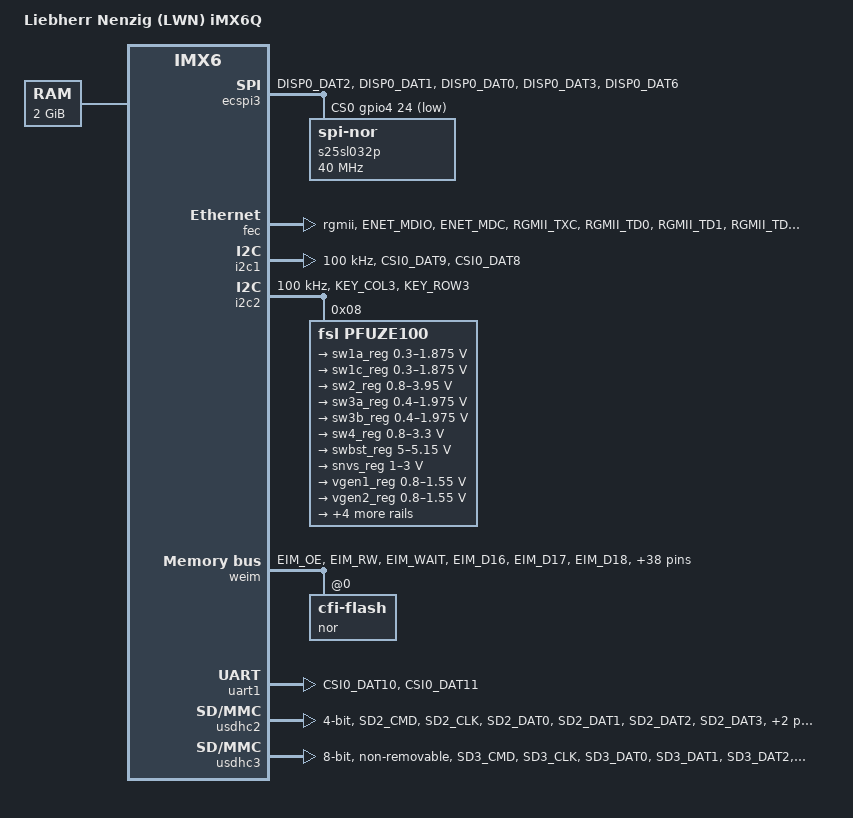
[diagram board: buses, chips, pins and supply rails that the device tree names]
// SPDX-License-Identifier: GPL-2.0+
/*
 * Copyright 2019
 * Lukasz Majewski, DENX Software Engineering, lukma@denx.de
 *
 * SPDX-License-Identifier:     GPL-2.0+ or X11
 */

/dts-v1/;
#include <dt-bindings/gpio/gpio.h>
#include "imx6q.dtsi"

/ {
	model = "Liebherr Nenzig (LWN) iMX6Q";
	compatible = "lwn,imx6-mccmon6", "fsl,imx6";

	aliases {
		mmc0 = &usdhc3;
		mmc1 = &usdhc2;
		spi0 = &ecspi3;
	};

	chosen {
		stdout-path = &uart1;
	};

	memory@10000000 {
		reg = <0x10000000 0x80000000>;
	};
};

&ecspi3 {
	cs-gpios = <&gpio4 24 GPIO_ACTIVE_LOW>;
	pinctrl-names = "default";
	pinctrl-0 = <&pinctrl_ecspi3 &pinctrl_ecspi3_cs &pinctrl_ecspi3_flwp>;
	spi-max-frequency = <25000000>;
	status = "okay";

	s25sl032p: flash@0 {
		#address-cells = <1>;
		#size-cells = <1>;
		compatible = "jedec,spi-nor";
		spi-max-frequency = <40000000>;
		reg = <0>;
	};
};

&fec {
	pinctrl-names = "default";
	pinctrl-0 = <&pinctrl_enet>;
	phy-mode = "rgmii";
	phy-reset-gpios = <&gpio1 27 GPIO_ACTIVE_LOW>;
	phy-reset-duration = <10>;
	phy-reset-post-delay = <1>;
	/* KSZ9031 PHY SKEW setup - old values * 60 ps */
	rxc-skew-ps = <1860>;
	txc-skew-ps = <1860>;
	txen-skew-ps = <900>;
	rxdv-skew-ps = <900>;
	rxd0-skew-ps = <180>;
	rxd1-skew-ps = <180>;
	rxd2-skew-ps = <180>;
	rxd3-skew-ps = <180>;
	txd0-skew-ps = <120>;
	txd1-skew-ps = <300>;
	txd2-skew-ps = <0>;
	txd3-skew-ps = <120>;
	status = "okay";
};

&i2c1 {
	clock-frequency = <100000>;
	pinctrl-names = "default";
	pinctrl-0 = <&pinctrl_i2c1>;
	status = "okay";
};

&i2c2 {
	clock-frequency = <100000>;
	pinctrl-names = "default";
	pinctrl-0 = <&pinctrl_i2c2>;
	status = "okay";

	pfuze100: pmic@8 {
		compatible = "fsl,pfuze100";
		reg = <0x08>;

		regulators {
			sw1a_reg: sw1ab {
				regulator-min-microvolt = <300000>;
				regulator-max-microvolt = <1875000>;
				regulator-boot-on;
				regulator-always-on;
				regulator-ramp-delay = <6250>;
			};

			sw1c_reg: sw1c {
				regulator-min-microvolt = <300000>;
				regulator-max-microvolt = <1875000>;
				regulator-boot-on;
				regulator-always-on;
				regulator-ramp-delay = <6250>;
			};

			sw2_reg: sw2 {
				regulator-min-microvolt = <800000>;
				regulator-max-microvolt = <3950000>;
				regulator-boot-on;
				regulator-always-on;
			};

			sw3a_reg: sw3a {
				regulator-min-microvolt = <400000>;
				regulator-max-microvolt = <1975000>;
				regulator-boot-on;
				regulator-always-on;
			};

			sw3b_reg: sw3b {
				regulator-min-microvolt = <400000>;
				regulator-max-microvolt = <1975000>;
				regulator-boot-on;
				regulator-always-on;
			};

			sw4_reg: sw4 {
				regulator-min-microvolt = <800000>;
				regulator-max-microvolt = <3300000>;
			};

			swbst_reg: swbst {
				regulator-min-microvolt = <5000000>;
				regulator-max-microvolt = <5150000>;
			};

			snvs_reg: vsnvs {
				regulator-min-microvolt = <1000000>;
				regulator-max-microvolt = <3000000>;
				regulator-boot-on;
				regulator-always-on;
			};

			vref_reg: vrefddr {
				regulator-boot-on;
				regulator-always-on;
			};

			vgen1_reg: vgen1 {
				regulator-min-microvolt = <800000>;
				regulator-max-microvolt = <1550000>;
			};

			vgen2_reg: vgen2 {
				regulator-min-microvolt = <800000>;
				regulator-max-microvolt = <1550000>;
			};

			vgen3_reg: vgen3 {
				regulator-min-microvolt = <1800000>;
				regulator-max-microvolt = <3300000>;
			};

			vgen4_reg: vgen4 {
				regulator-min-microvolt = <1800000>;
				regulator-max-microvolt = <3300000>;
				regulator-always-on;
			};

			vgen5_reg: vgen5 {
				regulator-min-microvolt = <1800000>;
				regulator-max-microvolt = <3300000>;
				regulator-always-on;
			};

			vgen6_reg: vgen6 {
				regulator-min-microvolt = <1800000>;
				regulator-max-microvolt = <3300000>;
				regulator-always-on;
			};
		};
	};
};

&weim {
	pinctrl-names = "default";
	pinctrl-0 = <&pinctrl_weim_nor &pinctrl_weim_cs0>;
	ranges = <0 0 0x08000000 0x08000000>;
	status = "okay";

	nor@0,0 {
		compatible = "cfi-flash";
		reg = <0 0 0x02000000>;
		#address-cells = <1>;
		#size-cells = <1>;
		bank-width = <2>;
		use-advanced-sector-protection;
		fsl,weim-cs-timing = <0x00620081 0x00000001 0x1c022000
				0x0000c000 0x1404a38e 0x00000000>;
	};
};

&iomuxc {
	pinctrl-names = "default";
	pinctrl-0 = <&pinctrl_hog>;

	pinctrl_ecspi3: ecspi3grp {
		fsl,pins = <
			MX6QDL_PAD_DISP0_DAT2__ECSPI3_MISO	0x100b1
			MX6QDL_PAD_DISP0_DAT1__ECSPI3_MOSI	0x100b1
			MX6QDL_PAD_DISP0_DAT0__ECSPI3_SCLK	0x100b1
		>;
	};

	pinctrl_ecspi3_cs: ecspi3csgrp {
		fsl,pins = <
			MX6QDL_PAD_DISP0_DAT3__GPIO4_IO24 0x80000000
		>;
	};

	pinctrl_ecspi3_flwp: ecspi3flwpgrp {
		fsl,pins = <
			MX6QDL_PAD_DISP0_DAT6__GPIO4_IO27 0x80000000
		>;
	};

	pinctrl_enet: enetgrp {
		fsl,pins = <
			MX6QDL_PAD_ENET_MDIO__ENET_MDIO		0x1b0b0
			MX6QDL_PAD_ENET_MDC__ENET_MDC		0x1b0b0
			MX6QDL_PAD_RGMII_TXC__RGMII_TXC		0x1b0b0
			MX6QDL_PAD_RGMII_TD0__RGMII_TD0		0x1b0b0
			MX6QDL_PAD_RGMII_TD1__RGMII_TD1		0x1b0b0
			MX6QDL_PAD_RGMII_TD2__RGMII_TD2		0x1b0b0
			MX6QDL_PAD_RGMII_TD3__RGMII_TD3		0x1b0b0
			MX6QDL_PAD_RGMII_TX_CTL__RGMII_TX_CTL	0x1b0b0
			MX6QDL_PAD_ENET_REF_CLK__ENET_TX_CLK	0x1b0b0
			MX6QDL_PAD_RGMII_RXC__RGMII_RXC		0x1b0b0
			MX6QDL_PAD_RGMII_RD0__RGMII_RD0		0x1b0b0
			MX6QDL_PAD_RGMII_RD1__RGMII_RD1		0x1b0b0
			MX6QDL_PAD_RGMII_RD2__RGMII_RD2		0x1b0b0
			MX6QDL_PAD_RGMII_RD3__RGMII_RD3		0x1b0b0
			MX6QDL_PAD_RGMII_RX_CTL__RGMII_RX_CTL	0x1b0b0
			MX6QDL_PAD_GPIO_16__ENET_REF_CLK 0x4001b0a8
			MX6QDL_PAD_GPIO_6__ENET_IRQ		0x000b1
			MX6QDL_PAD_ENET_RXD0__GPIO1_IO27        0x1b0b0
		>;
	};

	pinctrl_hog: hoggrp {
		fsl,pins = <
			MX6QDL_PAD_GPIO_2__GPIO1_IO02 0x1b0b0
			MX6QDL_PAD_GPIO_1__GPIO1_IO01 0x1b0b0
		>;
	};

	pinctrl_i2c1: i2c1grp {
		fsl,pins = <
			MX6QDL_PAD_CSI0_DAT9__I2C1_SCL	0x4001b8b1
			MX6QDL_PAD_CSI0_DAT8__I2C1_SDA	0x4001b8b1
		>;
	};

	pinctrl_i2c2: i2c2grp {
		fsl,pins = <
			MX6QDL_PAD_KEY_COL3__I2C2_SCL	0x4001b8b1
			MX6QDL_PAD_KEY_ROW3__I2C2_SDA	0x4001b8b1
		>;
	};

	pinctrl_uart1: uart1grp {
		fsl,pins = <
			MX6QDL_PAD_CSI0_DAT10__UART1_TX_DATA	0x1b0b1
			MX6QDL_PAD_CSI0_DAT11__UART1_RX_DATA	0x1b0b1
		>;
	};

	pinctrl_usdhc2: usdhc2grp {
		fsl,pins = <
			MX6QDL_PAD_SD2_CMD__SD2_CMD		0x17059
			MX6QDL_PAD_SD2_CLK__SD2_CLK		0x10059
			MX6QDL_PAD_SD2_DAT0__SD2_DATA0		0x17059
			MX6QDL_PAD_SD2_DAT1__SD2_DATA1		0x17059
			MX6QDL_PAD_SD2_DAT2__SD2_DATA2		0x17059
			MX6QDL_PAD_SD2_DAT3__SD2_DATA3		0x17059
			MX6QDL_PAD_GPIO_4__GPIO1_IO04           0x1b0b1
		>;
	};

	pinctrl_usdhc3: usdhc3grp {
		fsl,pins = <
			MX6QDL_PAD_SD3_CMD__SD3_CMD		0x17059
			MX6QDL_PAD_SD3_CLK__SD3_CLK		0x10059
			MX6QDL_PAD_SD3_DAT0__SD3_DATA0		0x17059
			MX6QDL_PAD_SD3_DAT1__SD3_DATA1		0x17059
			MX6QDL_PAD_SD3_DAT2__SD3_DATA2		0x17059
			MX6QDL_PAD_SD3_DAT3__SD3_DATA3		0x17059
			MX6QDL_PAD_SD3_DAT4__SD3_DATA4		0x17059
			MX6QDL_PAD_SD3_DAT5__SD3_DATA5		0x17059
			MX6QDL_PAD_SD3_DAT6__SD3_DATA6		0x17059
			MX6QDL_PAD_SD3_DAT7__SD3_DATA7		0x17059
			MX6QDL_PAD_SD3_RST__SD3_RESET		0x17059
		>;
	};

	pinctrl_weim_cs0: weimcs0grp {
		fsl,pins = <
			MX6QDL_PAD_EIM_CS0__EIM_CS0_B		0xb0b1
		>;
	};

	pinctrl_weim_nor: weimnorgrp {
		fsl,pins = <
			MX6QDL_PAD_EIM_OE__EIM_OE_B		0xb0b1
			MX6QDL_PAD_EIM_RW__EIM_RW		0xb0b1
			MX6QDL_PAD_EIM_WAIT__EIM_WAIT_B	0xb060
			MX6QDL_PAD_EIM_D16__EIM_DATA16		0x1b0b0
			MX6QDL_PAD_EIM_D17__EIM_DATA17		0x1b0b0
			MX6QDL_PAD_EIM_D18__EIM_DATA18		0x1b0b0
			MX6QDL_PAD_EIM_D19__EIM_DATA19		0x1b0b0
			MX6QDL_PAD_EIM_D20__EIM_DATA20		0x1b0b0
			MX6QDL_PAD_EIM_D21__EIM_DATA21		0x1b0b0
			MX6QDL_PAD_EIM_D22__EIM_DATA22		0x1b0b0
			MX6QDL_PAD_EIM_D23__EIM_DATA23		0x1b0b0
			MX6QDL_PAD_EIM_D24__EIM_DATA24		0x1b0b0
			MX6QDL_PAD_EIM_D25__EIM_DATA25		0x1b0b0
			MX6QDL_PAD_EIM_D26__EIM_DATA26		0x1b0b0
			MX6QDL_PAD_EIM_D27__EIM_DATA27		0x1b0b0
			MX6QDL_PAD_EIM_D28__EIM_DATA28		0x1b0b0
			MX6QDL_PAD_EIM_D29__EIM_DATA29		0x1b0b0
			MX6QDL_PAD_EIM_D30__EIM_DATA30		0x1b0b0
			MX6QDL_PAD_EIM_D31__EIM_DATA31		0x1b0b0
			MX6QDL_PAD_EIM_A23__EIM_ADDR23		0xb0b1
			MX6QDL_PAD_EIM_A22__EIM_ADDR22		0xb0b1
			MX6QDL_PAD_EIM_A21__EIM_ADDR21		0xb0b1
			MX6QDL_PAD_EIM_A20__EIM_ADDR20		0xb0b1
			MX6QDL_PAD_EIM_A19__EIM_ADDR19		0xb0b1
			MX6QDL_PAD_EIM_A18__EIM_ADDR18		0xb0b1
			MX6QDL_PAD_EIM_A17__EIM_ADDR17		0xb0b1
			MX6QDL_PAD_EIM_A16__EIM_ADDR16		0xb0b1
			MX6QDL_PAD_EIM_DA15__EIM_AD15		0xb0b1
			MX6QDL_PAD_EIM_DA14__EIM_AD14		0xb0b1
			MX6QDL_PAD_EIM_DA13__EIM_AD13		0xb0b1
			MX6QDL_PAD_EIM_DA12__EIM_AD12		0xb0b1
			MX6QDL_PAD_EIM_DA11__EIM_AD11		0xb0b1
			MX6QDL_PAD_EIM_DA10__EIM_AD10		0xb0b1
			MX6QDL_PAD_EIM_DA9__EIM_AD09		0xb0b1
			MX6QDL_PAD_EIM_DA8__EIM_AD08		0xb0b1
			MX6QDL_PAD_EIM_DA7__EIM_AD07		0xb0b1
			MX6QDL_PAD_EIM_DA6__EIM_AD06		0xb0b1
			MX6QDL_PAD_EIM_DA5__EIM_AD05		0xb0b1
			MX6QDL_PAD_EIM_DA4__EIM_AD04		0xb0b1
			MX6QDL_PAD_EIM_DA3__EIM_AD03		0xb0b1
			MX6QDL_PAD_EIM_DA2__EIM_AD02		0xb0b1
			MX6QDL_PAD_EIM_DA1__EIM_AD01		0xb0b1
			MX6QDL_PAD_EIM_DA0__EIM_AD00		0xb0b1
		>;
	};
};

&uart1 {
	pinctrl-names = "default";
	pinctrl-0 = <&pinctrl_uart1>;
	status = "okay";
};

&usdhc2 {
	pinctrl-names = "default";
	pinctrl-0 = <&pinctrl_usdhc2>;
	bus-width = <4>;
	cd-gpios = <&gpio1 4 GPIO_ACTIVE_LOW>;
	status = "okay";
};

&usdhc3 {
	pinctrl-names = "default";
	pinctrl-0 = <&pinctrl_usdhc3>;
	bus-width = <8>;
	non-removable;
	no-1-8-v;
	keep-power-in-suspend;
	status = "okay";
};
